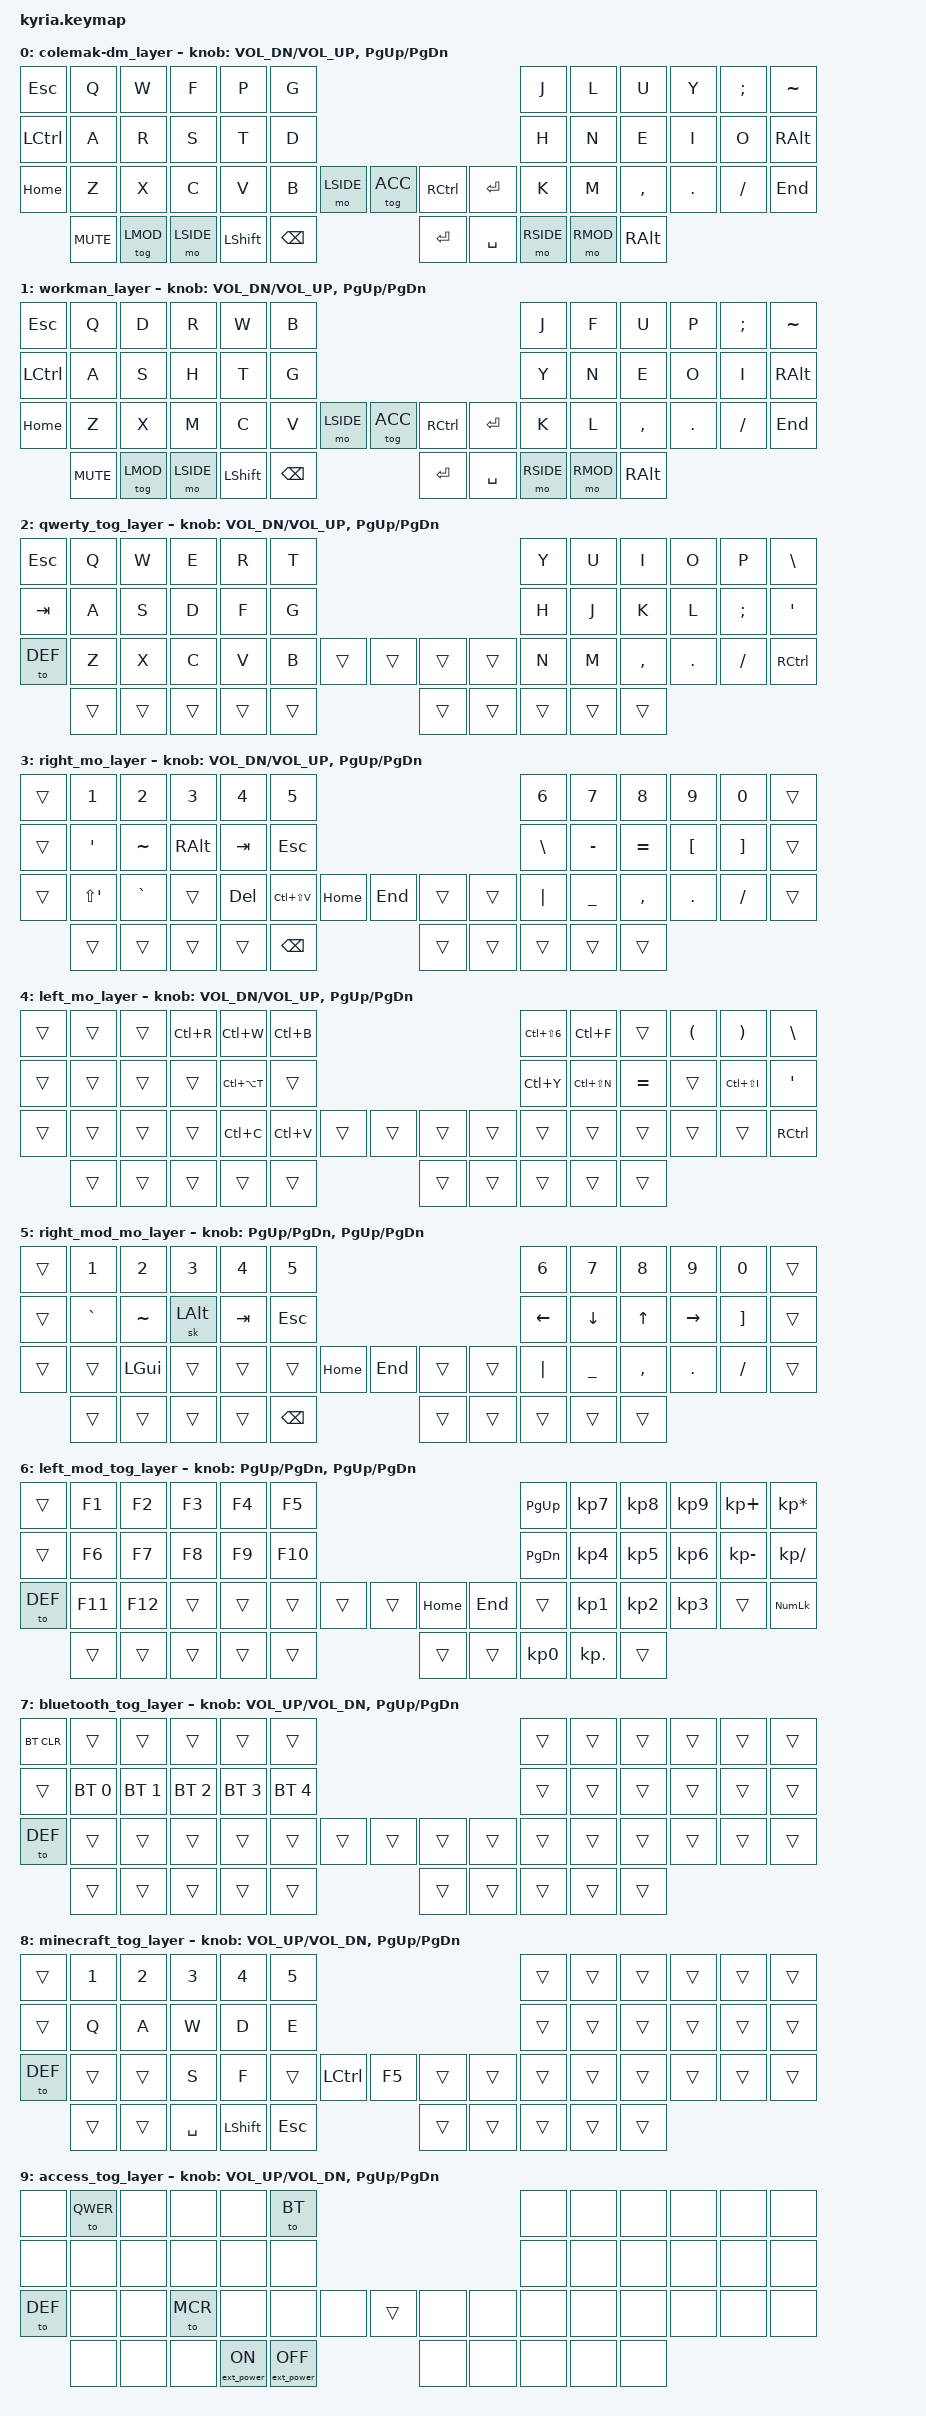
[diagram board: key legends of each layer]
/*
 * Copyright (c) 2020 The ZMK Contributors
 *
 * SPDX-License-Identifier: MIT
 *
 * Build Left:  west build -d build/left -p -b nice_nano -- -DSHIELD=kyria_left
 * Build Right: west build -d build/right -p -b nice_nano -- -DSHIELD=kyria_right
 *
 * Drag and drop from zmk/app/build/left/zephyr/zmk.uf2 to left nice!nice
 * Drag and drop from zmk/app/build/right/zehpyr/zmk.uf2 to right nice!nano
 */

#include <behaviors.dtsi>
#include <dt-bindings/zmk/keys.h>
#include <dt-bindings/zmk/bt.h>
#include <dt-bindings/zmk/rgb.h>
#include <dt-bindings/zmk/ext_power.h>

#define DEF     0
#define WM      1
#define QWER    2
#define RSIDE   3
#define LSIDE   4
#define RMOD    5
#define LMOD    6
#define BT      7
#define MCR     8
#define ACC     9 // add all tog_layers access here

/ {
// ----------------------------------------------------------------------------------------------------------------------------------
// |  0   |   1  |   2  |   3  |   4  |   5  |                                           |   6  |   7  |   8  |   9  |  10  |  11  |
// |  12  |  13  |  14  |  15  |  16  |  17  |                                           |  18  |  19  |  20  |  21  |  22  |  23  |
// |  24  |  25  |  26  |  27  |  28  |  29  |  30  |  31  |               |  32  |  33  |  34  |  35  |  36  |  37  |  38  |  39  |
//                      |  40  |  41  |  42  |  43  |  44  |               |  45  |  46  |  47  |  48  |  49  |

	keymap {
		compatible = "zmk,keymap";

		colemak-dm_layer {
// ---------------------------------------------------------------------------------------------------------------------------------
// | ESC  |  Q  |  W  |  F   |  P   |  G   |                                       |  J   |  L    |  U    |  Y   |   ;   |   ~  |
// | CTRL |  A  |  R  |  S   |  T   |  D   |                                       |  H   |  N    |  E    |  I   |   O   |  ALT |
// | HOME |  Z  |  X  |  C   |  V   |  B   |  LSIDE  | ACC   |    | CTRL |   RET   |  K   |  M    |  ,    |  .   |   /   |  END |
//                    | GUI  | LMOD |LSIDE |  SHIFT  | BSPC  |    | RET  |  SPACE  | RSIDE  | RMOD  | R-ALT |
			bindings = <
	&kp ESC   &kp Q &kp W &kp F &kp P &kp G                                                 &kp J &kp L  &kp U     &kp Y   &kp SEMI &kp TILDE
	&kp LCTRL &kp A &kp R &kp S &kp T &kp D                                                 &kp H &kp N  &kp E     &kp I   &kp O    &kp RALT
	&kp HOME  &kp Z &kp X &kp C &kp V &kp B     &mo LSIDE  &tog ACC     &kp RCTRL &kp RET   &kp K &kp M  &kp COMMA &kp DOT &kp FSLH &kp END
              &kp C_MUTE &tog LMOD &mo LSIDE  &kp LSHFT  &kp BSPC     &kp RET   &kp SPACE &mo RSIDE &mo RMOD &kp RALT
			>;

			sensor-bindings = <&inc_dec_kp C_VOL_DN C_VOL_UP &inc_dec_kp PG_UP PG_DN>;
		};


		workman_layer {
// ---------------------------------------------------------------------------------------------------------------------------------
// | ESC  |  Q  |  D  |  R   |  W   |  B   |                                       |  J   |  F    |  U    |  P   |   ;   |   ~  |
// | CTRL |  A  |  S  |  H   |  T   |  G   |                                       |  Y   |  N    |  E    |  O   |   I   |  ALT |
// | HOME |  Z  |  X  |  M   |  C   |  V   |  LSIDE  | ACC   |    | CTRL |   RET   |  K   |  L    |  ,    |  .   |   /   |  END |
//                    | GUI  | LMOD |LSIDE |  SHIFT  | BSPC  |    | RET  |  SPACE  | RSIDE  | RMOD  | R-ALT |
			bindings = <
	&kp ESC   &kp Q &kp D &kp R &kp W &kp B                                                 &kp J &kp F  &kp U     &kp P   &kp SEMI &kp TILDE
	&kp LCTRL &kp A &kp S &kp H &kp T &kp G                                                 &kp Y &kp N  &kp E     &kp O   &kp I    &kp RALT
	&kp HOME  &kp Z &kp X &kp M &kp C &kp V     &mo LSIDE  &tog ACC     &kp RCTRL &kp RET   &kp K &kp L  &kp COMMA &kp DOT &kp FSLH &kp END
              &kp C_MUTE &tog LMOD &mo LSIDE  &kp LSHFT  &kp BSPC     &kp RET   &kp SPACE &mo RSIDE &mo RMOD &kp RALT
			>;

			sensor-bindings = <&inc_dec_kp C_VOL_DN C_VOL_UP &inc_dec_kp PG_UP PG_DN>;
		};

		qwerty_tog_layer {
// ---------------------------------------------------------------------------------------------------------------------------------
// |  ESC  |  Q  |  W  |  E   |  R   |  T   |                                          |  Y   |  U    |  I    |  O   |   P   |   \  |
// |  TAB  |  A  |  S  |  D   |  F   |  G   |                                          |  H   |  J    |  K    |  L   |   ;   |   '  |
// |  DEF  |  Z  |  X  |  C   |  V   |  B   |     |     |               |    |         |  N   |  M    |  ,    |  .   |   /   | CTRL |
//                     |      |      |      |     |     |               |    |         |      |       |       |
			bindings = <
	&kp ESC   &kp Q &kp W &kp E &kp R &kp T                                          &kp Y &kp U  &kp I     &kp O   &kp P    &kp BSLH
	&kp TAB   &kp A &kp S &kp D &kp F &kp G                                          &kp H &kp J  &kp K     &kp L   &kp SEMI &kp SQT
	&to DEF   &kp Z &kp X &kp C &kp V &kp B   &trans &trans          &trans  &trans  &kp N &kp M  &kp COMMA &kp DOT &kp FSLH &kp RCTRL
	                     &trans &trans &trans &trans &trans          &trans  &trans  &trans &trans &trans
			>;

			sensor-bindings = <&inc_dec_kp C_VOL_DN C_VOL_UP &inc_dec_kp PG_UP PG_DN>;
		};

		right_mo_layer {
// ---------------------------------------------------------------------------------------------------------------------------------
// |       |  1  |  2  |  3   |  4   |  5   |                                          |  6   |  7    |  8    |  9   |   0   |      |
// |       |  '  |  ~  | ALT  | TAB  | ESC  |                                          |  \   |  -    |  =    |  [   |   ]   |      |
// |       |  "  |  `  |      | DEL  | CA(V)|     |     |                  |     |     | '|'  |  _    |  ,    |  .   |   /   |      |
//                     |      |      |      |     |     |                  |     |     |      |       |       |
			bindings = <
	&trans   &kp N1       &kp N2    &kp N3    &kp N4  &kp N5                                             &kp N6   &kp N7     &kp N8    &kp N9   &kp N0   &trans
	&trans   &kp SQT      &kp TILDE &kp RALT  &kp TAB &kp ESC                                            &kp BSLH &kp MINUS  &kp EQUAL &kp LBKT &kp RBKT &trans
	&trans   &kp LS(SQT)  &kp GRAVE &trans    &kp DEL &kp LC(LS(V)) &kp HOME  &kp END    &trans  &trans  &kp PIPE &kp UNDER  &kp COMMA &kp DOT  &kp FSLH &trans
	                                         &trans &trans &trans &trans    &kp BSPC   &trans  &trans  &trans &trans &trans
			>;

			sensor-bindings = <&inc_dec_kp C_VOL_DN C_VOL_UP &inc_dec_kp PG_UP PG_DN>;
		};

		left_mo_layer {
// ---------------------------------------------------------------------------------------------------------------------------------
// |       |     |     | C(R) | C(W) | C(B) |                                          | CS(6) | LS(F) |       |  (   |   )   |   \  |
// |       |     |     |      |CA(T) |      |                                          | LC(Y) | CS(N) |  =    |      | CS(I) |   '  |
// |       |     |     |      | C(C) | C(V) |   |    |                 |     |         |       |       |  ,    |  .   |   /   | CTRL |
//                     |      |      |      |   |    |                 | BSPC|         |       |       |       |
			bindings = <
	&trans &trans &trans &kp LC(R) &kp LC(W)     &kp LC(B)                                        &kp LC(LS(N6)) &kp LC(F)      &trans    &kp LPAR   &kp RPAR      &kp BSLH
	&trans &trans &trans &trans    &kp LC(LA(T)) &trans                                           &kp LC(Y)      &kp LC(LS(N))  &kp EQUAL &trans     &kp LC(LS(I)) &kp SQT
	&trans &trans &trans &trans    &kp LC(C)     &kp LC(V)  &trans  &trans        &trans   &trans &trans         &trans         &trans    &trans     &trans        &kp RCTRL
	                     &trans    &trans        &trans     &trans  &trans        &trans   &trans &trans         &trans         &trans
			>;

			sensor-bindings = <&inc_dec_kp C_VOL_DN C_VOL_UP &inc_dec_kp PG_UP PG_DN>;
		};

		right_mod_mo_layer {
// ---------------------------------------------------------------------------------------------------------------------------------
// |       |  1  |  2  |  3   |  4   |  5   |                                          |  6   |  7    |  8    |  9   |   0   |      |
// |       |  `  |  ~  | ALT  | TAB  | ESC  |                                          | LARRW|  DOWN |  UP   | RARRW|   ]   |      |
// |       |HOME | GUI |      |      |      |     |     |                  |     |     | '|'  |  _    |  ,    |  .   |   /   |      |
//                     |      |      |      |     |     |                  |     |     |      |       |       |
			bindings = <
	&trans   &kp N1    &kp N2    &kp N3   &kp N4  &kp N5                                         &kp N6         &kp N7     &kp N8    &kp N9          &kp N0   &trans
	&trans   &kp GRAVE &kp TILDE &sk LALT &kp TAB &kp ESC                                        &kp LEFT_ARROW &kp DOWN   &kp UP    &kp RIGHT_ARROW &kp RBKT &trans
	&trans   &trans    &kp LGUI  &trans   &trans  &trans  &kp HOME  &kp END      &trans  &trans  &kp PIPE       &kp UNDER  &kp COMMA &kp DOT         &kp FSLH &trans
	                                 &trans &trans &trans &trans    &kp BSPC     &trans  &trans  &trans         &trans     &trans
			>;

			sensor-bindings = <&inc_dec_kp PG_UP PG_DN &inc_dec_kp PG_UP PG_DN>;
		};

		left_mod_tog_layer {
// ---------------------------------------------------------------------------------------------------------------------------------
// |     | F1  | F2  |  F3  |  F4   |  F5  |                                          | PG_UP |   7   |   8   |  9   |   +   |  *   |
// |     | F6  | F7  |  F8  |  F9   |  F10 |                                          | PG_DN |   4   |   5   |  6   |   -   |  /   |
// | DEF | F11 | F12 |      |       |      |     |     |                 | HOME | END |       |   1   |   2   |  3   |       | NUMLK|
//                   |      |DEF    |      |     |     |                 |      |     |   0   |  DOT  |       |
			bindings = <
	&trans   &kp F1  &kp F2  &kp F3 &kp F4 &kp F5                                      &kp PG_UP &kp KP_N7 &kp KP_N8 &kp KP_N9 &kp KP_PLUS  &kp KP_MULTIPLY
	&trans   &kp F6  &kp F7  &kp F8 &kp F9 &kp F10                                     &kp PG_DN &kp KP_N4 &kp KP_N5 &kp KP_N6 &kp KP_MINUS &kp KP_DIVIDE
	&to DEF  &kp F11 &kp F12 &trans &trans &trans  &trans &trans      &kp HOME &kp END &trans    &kp KP_N1 &kp KP_N2 &kp KP_N3 &trans       &kp KP_NUMLOCK
	                          &trans &trans &trans &trans &trans      &trans   &trans  &kp KP_N0 &kp KP_DOT &trans
			>;

			sensor-bindings = <&inc_dec_kp PG_UP PG_DN &inc_dec_kp PG_UP PG_DN>;
		};

		bluetooth_tog_layer {
// ---------------------------------------------------------------------------------------------------------------------------------
// |  BTC  |     |     |      |      |      |                                          |      |       |       |      |       |      |
// |       | BT0 | BT1 | BT2  | BT3  | BT4  |                                          |      |       |       |      |       |      |
// |       |     |     |      |      |      |     |     |                  |     |     |      |       |       |      |       |      |
//                     |      |      |      |     |     |                  |     |     |      |       |       |
			bindings = <
	&bt BT_CLR &trans       &trans       &trans       &trans       &trans                                      &trans &trans &trans &trans &trans &trans
	&trans     &bt BT_SEL 0 &bt BT_SEL 1 &bt BT_SEL 2 &bt BT_SEL 3 &bt BT_SEL 4                                &trans &trans &trans &trans &trans &trans
	&to DEF    &trans       &trans       &trans       &trans       &trans    &trans &trans     &trans  &trans  &trans &trans &trans &trans &trans &trans
                  	                                  &trans &trans &trans &trans &trans     &trans  &trans  &trans &trans &trans
			>;

			sensor-bindings = <&inc_dec_kp C_VOL_UP C_VOL_DN &inc_dec_kp PG_UP PG_DN>;
		};

		minecraft_tog_layer {
// ---------------------------------------------------------------------------------------------------------------------------------
// |       |  1  |  2  |  3   |  4   |  5   |                                          |      |       |       |      |       |      |
// |       |  Q  |  A  |  W   |  D   |  E   |                                          |      |       |       |      |       |      |
// |       |     |     |  S   |  F   |      | LCTRL | F5  |                |     |     |      |       |       |      |       |      |
//                     |      |      |SPACE | LSHFT | ESC |                |     |     |      |       |       |
			bindings = <
	&trans   &kp N1 &kp N2 &kp N3 &kp N4 &kp N5                                         &trans &trans &trans &trans &trans &trans
	&trans   &kp Q  &kp A  &kp W  &kp D  &kp E                                          &trans &trans &trans &trans &trans &trans
	&to DEF  &trans &trans &kp S  &kp F  &trans &kp LCTRL &kp F5        &trans  &trans  &trans &trans &trans &trans &trans &trans
	                   &trans &trans &kp SPACE  &kp LSHFT &kp ESC       &trans  &trans  &trans &trans &trans
			>;

			sensor-bindings = <&inc_dec_kp C_VOL_UP C_VOL_DN &inc_dec_kp PG_UP PG_DN>;
		};

		access_tog_layer {
// ---------------------------------------------------------------------------------------------------------------------------------
// |       | QWER |     |      |      |  BT  |                                          |      |       |       |      |       |      |
// |       |      |     |      |      |      |                                          |      |       |       |      |       |      |
// |       |      |     | MCR  |      |      |     |     |                  |     |     |      |       |       |      |       |      |
//                      |      |      |      |     |     |                  |     |     |      |       |       |
			bindings = <
	&none   &to QWER &none &none   &none &to BT                                                        &none  &none  &none  &none  &none  &none
	&none   &none    &none &none   &none &none                                                         &none  &none  &none  &none  &none  &none
	&to DEF &none    &none &to MCR &none &none     &none            &trans                &none  &none &none  &none  &none  &none  &none  &none
	                             &none &none &none &ext_power EP_ON &ext_power EP_OFF     &none  &none &none  &none  &none
			>;

			sensor-bindings = <&inc_dec_kp C_VOL_UP C_VOL_DN &inc_dec_kp PG_UP PG_DN>;
		};
	};
};
